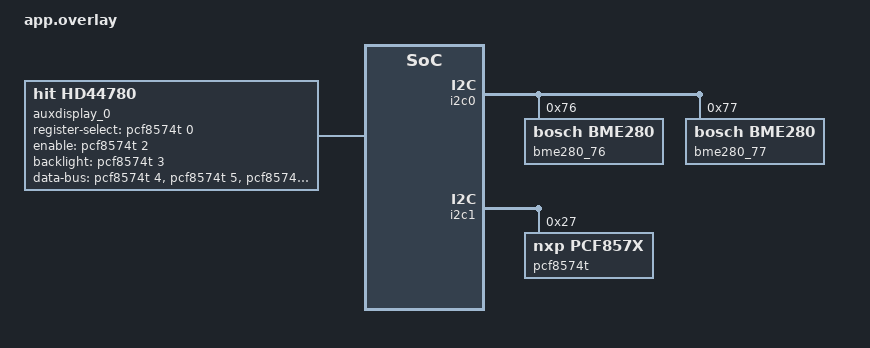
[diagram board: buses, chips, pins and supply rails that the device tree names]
/* I2C0: BME280-Sensoren (GP4 = SDA, GP5 = SCL) */
&i2c0 {
    status = "okay";

    bme280_76: bme280@76 {
        compatible = "bosch,bme280";
        reg = <0x76>;
        status = "okay";
    };

    bme280_77: bme280@77 {
        compatible = "bosch,bme280";
        reg = <0x77>;
        status = "okay";
    };
};

/* I2C1: PCF8574T LCD-Backpack (GP6 = SDA, GP7 = SCL) */
&i2c1 {
    status = "okay";

    pcf8574t: pcf8574t@27 {
        compatible = "nxp,pcf857x";
        reg = <0x27>;
        gpio-controller;
        #gpio-cells = <2>;
        ngpios = <8>;
        status = "okay";
    };
};

/* HD44780 16x2 LCD ueber den PCF8574T-Backpack */
/ {
    auxdisplay_0: auxdisplay {
        compatible = "hit,hd44780";
        status = "okay";
        columns = <16>;
        rows = <2>;
        mode = <4>;
        boot-delay-ms = <50>;

        register-select-gpios = <&pcf8574t 0 GPIO_ACTIVE_HIGH>;
        /* read-write-gpios nicht konfiguriert – Treiber nutzt feste Delays statt I2C-Busy-Polling */
        enable-gpios          = <&pcf8574t 2 GPIO_ACTIVE_HIGH>;
        backlight-gpios       = <&pcf8574t 3 GPIO_ACTIVE_HIGH>;

        data-bus-gpios = <0>, <0>, <0>, <0>,
                         <&pcf8574t 4 GPIO_ACTIVE_HIGH>,
                         <&pcf8574t 5 GPIO_ACTIVE_HIGH>,
                         <&pcf8574t 6 GPIO_ACTIVE_HIGH>,
                         <&pcf8574t 7 GPIO_ACTIVE_HIGH>;
    };
};
